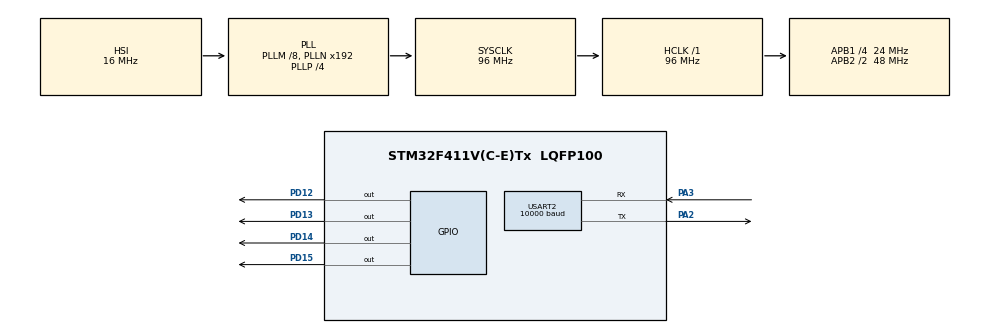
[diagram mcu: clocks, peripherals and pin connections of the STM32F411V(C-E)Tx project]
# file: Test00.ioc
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Mcu.Family=STM32F4
Mcu.Name=STM32F411V(C-E)Tx
Mcu.Package=LQFP100
NVIC.PriorityGroup=NVIC_PRIORITYGROUP_0
NVIC.USART2_IRQn=true\:0\:0\:false\:false\:true\:true\:true\:true
PA2.Mode=Asynchronous
PA2.Signal=USART2_TX
PA3.Mode=Asynchronous
PA3.Signal=USART2_RX
PD12.Signal=GPIO_Output
PD13.Signal=GPIO_Output
PD14.Signal=GPIO_Output
PD15.Signal=GPIO_Output
ProjectManager.HeapSize=0x200
ProjectManager.StackSize=0x400
ProjectManager.TargetToolchain=STM32CubeIDE
RCC.48MHZClocksFreq_Value=48000000
RCC.AHBFreq_Value=96000000
RCC.APB1CLKDivider=RCC_HCLK_DIV4
RCC.APB1Freq_Value=24000000
RCC.APB1TimFreq_Value=48000000
RCC.APB2CLKDivider=RCC_HCLK_DIV2
RCC.APB2Freq_Value=48000000
RCC.APB2TimFreq_Value=96000000
RCC.CortexFreq_Value=96000000
RCC.HCLKFreq_Value=96000000
RCC.HSE_VALUE=8000000
RCC.HSI_VALUE=16000000
RCC.LSE_VALUE=32768
RCC.PLLI2SM=5
RCC.PLLI2SN=200
RCC.PLLM=8
RCC.PLLP=RCC_PLLP_DIV4
RCC.PLLQ=8
RCC.SYSCLKFreq_VALUE=96000000
RCC.SYSCLKSource=RCC_SYSCLKSOURCE_PLLCLK
RCC.VCOOutputFreq_Value=384000000
USART2.BaudRate=10000
USART2.VirtualMode=VM_ASYNC
board=STM32F411E-DISCO

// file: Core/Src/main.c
/* USER CODE BEGIN Header */
/**
 ******************************************************************************
 * @file           : main.c
 * @brief          : Main program body
 ******************************************************************************
 * @attention
 *
 * Copyright (c) 2023 STMicroelectronics.
 * All rights reserved.
 *
 * This software is licensed under terms that can be found in the LICENSE file
 * in the root directory of this software component.
 * If no LICENSE file comes with this software, it is provided AS-IS.
 *
 ******************************************************************************
 */
/* USER CODE END Header */
#include "main.h"

/* USER CODE BEGIN Includes */
#include <stdbool.h>
/* USER CODE END Includes */

UART_HandleTypeDef huart2;

/* USER CODE BEGIN PV */
uint8_t data_send = 0x10;
volatile uint8_t data_recv = 0x00;
bool send_cmd = false;
/* USER CODE END PV */

void SystemClock_Config(void);
static void MX_GPIO_Init(void);
static void MX_USART2_UART_Init(void);

int main(void) {

  /* MCU Configuration--------------------------------------------------------*/

  /* Reset of all peripherals, Initializes the Flash interface and the Systick.
   */
  HAL_Init();

  /* Configure the system clock */
  SystemClock_Config();

  /* Initialize all configured peripherals */
  MX_GPIO_Init();
  MX_USART2_UART_Init();
  /* USER CODE BEGIN 2 */
  //HAL_UART_Receive_IT(&huart2, &data_recv, 1);
  /* USER CODE END 2 */

  /* Infinite loop */
  while (1) {
    /* USER CODE BEGIN 3 */
    if (send_cmd) {
      HAL_GPIO_WritePin(GPIOD, GPIO_PIN_13, GPIO_PIN_SET);
      send_cmd = false;
      data_recv = 0;
      HAL_UART_Transmit(&huart2, &data_send, 1, 1000);
      HAL_GPIO_WritePin(GPIOD, GPIO_PIN_13, GPIO_PIN_RESET);
    }

    if (HAL_UART_Receive(&huart2, &data_recv, 1, 100) == HAL_OK) {
    	HAL_GPIO_WritePin(GPIOD, GPIO_PIN_15, GPIO_PIN_SET);
    	HAL_Delay(200);
    	HAL_GPIO_WritePin(GPIOD, GPIO_PIN_15, GPIO_PIN_RESET);
    }

    HAL_GPIO_WritePin(GPIOD, GPIO_PIN_14, data_recv!=0);
  }
  /* USER CODE END 3 */
}

void SystemClock_Config(void) {
  RCC_OscInitTypeDef RCC_OscInitStruct = {0};
  RCC_ClkInitTypeDef RCC_ClkInitStruct = {0};

  /** Configure the main internal regulator output voltage
   */
  __HAL_RCC_PWR_CLK_ENABLE();
  __HAL_PWR_VOLTAGESCALING_CONFIG(PWR_REGULATOR_VOLTAGE_SCALE1);

  /** Initializes the RCC Oscillators according to the specified parameters
   * in the RCC_OscInitTypeDef structure.
   */
  RCC_OscInitStruct.OscillatorType = RCC_OSCILLATORTYPE_HSI;
  RCC_OscInitStruct.HSIState = RCC_HSI_ON;
  RCC_OscInitStruct.HSICalibrationValue = RCC_HSICALIBRATION_DEFAULT;
  RCC_OscInitStruct.PLL.PLLState = RCC_PLL_ON;
  RCC_OscInitStruct.PLL.PLLSource = RCC_PLLSOURCE_HSI;
  RCC_OscInitStruct.PLL.PLLM = 8;
  RCC_OscInitStruct.PLL.PLLN = 192;
  RCC_OscInitStruct.PLL.PLLP = RCC_PLLP_DIV4;
  RCC_OscInitStruct.PLL.PLLQ = 8;
  if (HAL_RCC_OscConfig(&RCC_OscInitStruct) != HAL_OK) {
    Error_Handler();
  }

  /** Initializes the CPU, AHB and APB buses clocks
   */
  RCC_ClkInitStruct.ClockType = RCC_CLOCKTYPE_HCLK | RCC_CLOCKTYPE_SYSCLK |
                                RCC_CLOCKTYPE_PCLK1 | RCC_CLOCKTYPE_PCLK2;
  RCC_ClkInitStruct.SYSCLKSource = RCC_SYSCLKSOURCE_PLLCLK;
  RCC_ClkInitStruct.AHBCLKDivider = RCC_SYSCLK_DIV1;
  RCC_ClkInitStruct.APB1CLKDivider = RCC_HCLK_DIV4;
  RCC_ClkInitStruct.APB2CLKDivider = RCC_HCLK_DIV2;

  if (HAL_RCC_ClockConfig(&RCC_ClkInitStruct, FLASH_LATENCY_3) != HAL_OK) {
    Error_Handler();
  }
}

static void MX_USART2_UART_Init(void) {

  huart2.Instance = USART2;
  huart2.Init.BaudRate = 10000;
  huart2.Init.WordLength = UART_WORDLENGTH_8B;
  huart2.Init.StopBits = UART_STOPBITS_1;
  huart2.Init.Parity = UART_PARITY_NONE;
  huart2.Init.Mode = UART_MODE_TX_RX;
  huart2.Init.HwFlowCtl = UART_HWCONTROL_NONE;
  huart2.Init.OverSampling = UART_OVERSAMPLING_16;
  if (HAL_UART_Init(&huart2) != HAL_OK) {
    Error_Handler();
  }
}

static void MX_GPIO_Init(void) {
  GPIO_InitTypeDef GPIO_InitStruct = {0};

  /* GPIO Ports Clock Enable */
  __HAL_RCC_GPIOA_CLK_ENABLE();
  __HAL_RCC_GPIOD_CLK_ENABLE();

  /*Configure GPIO pin Output Level */
  HAL_GPIO_WritePin(GPIOD,
                    GPIO_PIN_12 | GPIO_PIN_13 | GPIO_PIN_14 | GPIO_PIN_15,
                    GPIO_PIN_RESET);

  /*Configure GPIO pins : PD12 PD13 PD14 PD15 */
  GPIO_InitStruct.Pin = GPIO_PIN_12 | GPIO_PIN_13 | GPIO_PIN_14 | GPIO_PIN_15;
  GPIO_InitStruct.Mode = GPIO_MODE_OUTPUT_PP;
  GPIO_InitStruct.Pull = GPIO_NOPULL;
  GPIO_InitStruct.Speed = GPIO_SPEED_FREQ_LOW;
  HAL_GPIO_Init(GPIOD, &GPIO_InitStruct);

}

void Error_Handler(void) {
  __disable_irq();
  while (1) {
  }
}

#ifdef USE_FULL_ASSERT
/**
 * @brief  Reports the name of the source file and the source line number
 *         where the assert_param error has occurred.
 * @param  file: pointer to the source file name
 * @param  line: assert_param error line source number
 * @retval None
 */
void assert_failed(uint8_t *file, uint32_t line) {
  /* USER CODE BEGIN 6 */
  /* User can add his own implementation to report the file name and line
     number, ex: printf("Wrong parameters value: file %s on line %d\r\n", file,
     line) */
  /* USER CODE END 6 */
}
#endif /* USE_FULL_ASSERT */
